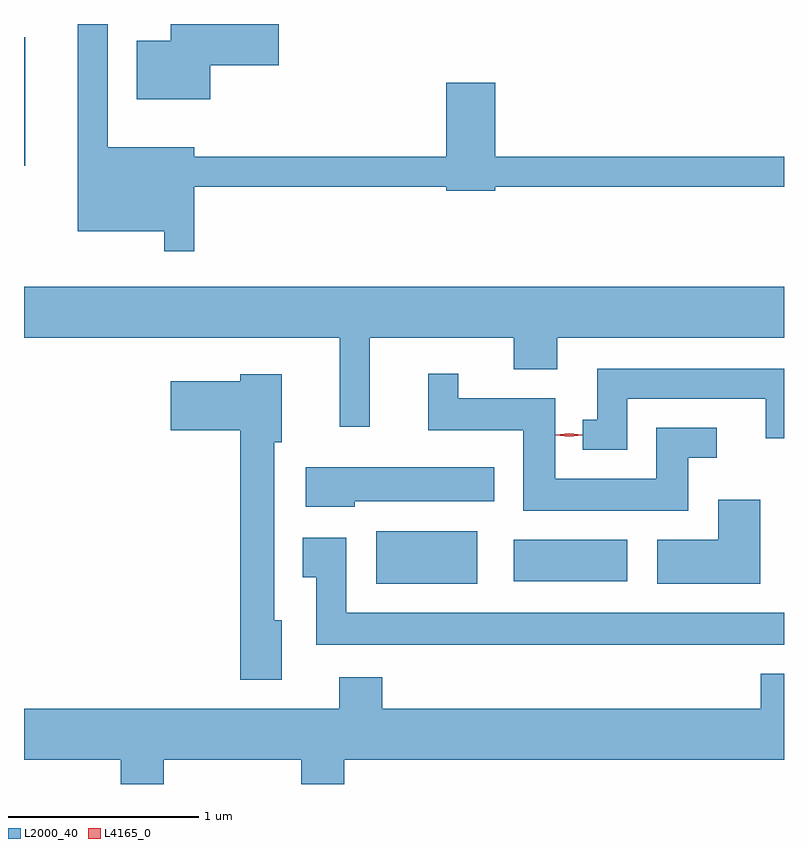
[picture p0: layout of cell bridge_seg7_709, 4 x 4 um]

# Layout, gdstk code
import gdstk
lib = gdstk.Library(unit=1e-6, precision=1e-09)
def R(c, l, rs):  # rectangles x0, y0, x1, y1
    for r in rs: c.add(gdstk.rectangle(r[:2], r[2:], *l))
def P(c, l, *ps):  # polygons
    for p in ps: c.add(gdstk.Polygon(p, *l))
L2000_40 = (2000, 40)
L4165_0 = (4165, 0)

bridge_seg7_709 = lib.new_cell('bridge_seg7_709')
R(bridge_seg7_709, L2000_40, [(540.126,1739.661,540.659,1739.939), (540.851,1739.676,541.449,1739.894), (538.273,1741.861,538.279,1742.539)])
P(bridge_seg7_709, L2000_40, [(539.254,1742.391),(539.614,1742.391),(539.614,1742.608),(539.046,1742.608),(539.046,1742.519),(538.866,1742.519),(538.866,1742.211),(539.254,1742.211)],
  [(539.169,1741.751),(540.496,1741.751),(540.496,1741.731),(540.754,1741.731),(540.754,1741.751),(542.273,1741.751),(542.273,1741.909),(540.754,1741.909),(540.754,1742.299),(540.496,1742.299),(540.496,1741.909),(539.169,1741.909),(539.169,1741.959),(538.714,1741.959),(538.714,1742.608),(538.556,1742.608),(538.556,1741.516),(539.011,1741.516),(539.011,1741.413),(539.169,1741.413)],
  [(540.094,1740.956),(540.851,1740.956),(540.851,1740.791),(541.079,1740.791),(541.079,1740.956),(542.273,1740.956),(542.273,1741.224),(538.273,1741.224),(538.273,1740.956),(539.936,1740.956),(539.936,1740.488),(540.094,1740.488)],
  [(541.449,1740.636),(542.176,1740.636),(542.176,1740.428),(542.273,1740.428),(542.273,1740.794),(541.291,1740.794),(541.291,1740.524),(541.213,1740.524),(541.213,1740.366),(541.449,1740.366)],
  [(541.769,1740.326),(541.918,1740.326),(541.918,1740.484),(541.601,1740.484),(541.601,1740.214),(541.069,1740.214),(541.069,1740.639),(540.559,1740.639),(540.559,1740.768),(540.401,1740.768),(540.401,1740.471),(540.901,1740.471),(540.901,1740.046),(541.769,1740.046)],
  [(539.629,1739.469),(539.589,1739.469),(539.589,1740.406),(539.629,1740.406),(539.629,1740.764),(539.411,1740.764),(539.411,1740.729),(539.046,1740.729),(539.046,1740.471),(539.411,1740.471),(539.411,1739.156),(539.629,1739.156)],
  [(540.014,1740.096),(540.749,1740.096),(540.749,1740.274),(539.756,1740.274),(539.756,1740.066),(540.014,1740.066)],
  [(542.149,1740.104),(541.926,1740.104),(541.926,1739.894),(541.606,1739.894),(541.606,1739.661),(542.149,1739.661)],
  [(542.273,1739.509),(539.969,1739.509),(539.969,1739.904),(539.741,1739.904),(539.741,1739.696),(539.811,1739.696),(539.811,1739.341),(542.273,1739.341)],
  [(542.273,1739.189),(542.151,1739.189),(542.151,1739.004),(540.159,1739.004),(540.159,1739.169),(539.931,1739.169),(539.931,1739.004),(538.273,1739.004),(538.273,1738.736),(538.781,1738.736),(538.781,1738.608),(539.009,1738.608),(539.009,1738.736),(539.731,1738.736),(539.731,1738.608),(539.959,1738.608),(539.959,1738.736),(542.273,1738.736)])
P(bridge_seg7_709, L4165_0, [(541.142,1740.435),(541.072,1740.444),(541.072,1740.444),(541.072,1740.445),(541.142,1740.454),(541.211,1740.445),(541.211,1740.445),(541.211,1740.444)])

lib.write_gds('bridge_seg7_709.gds')
